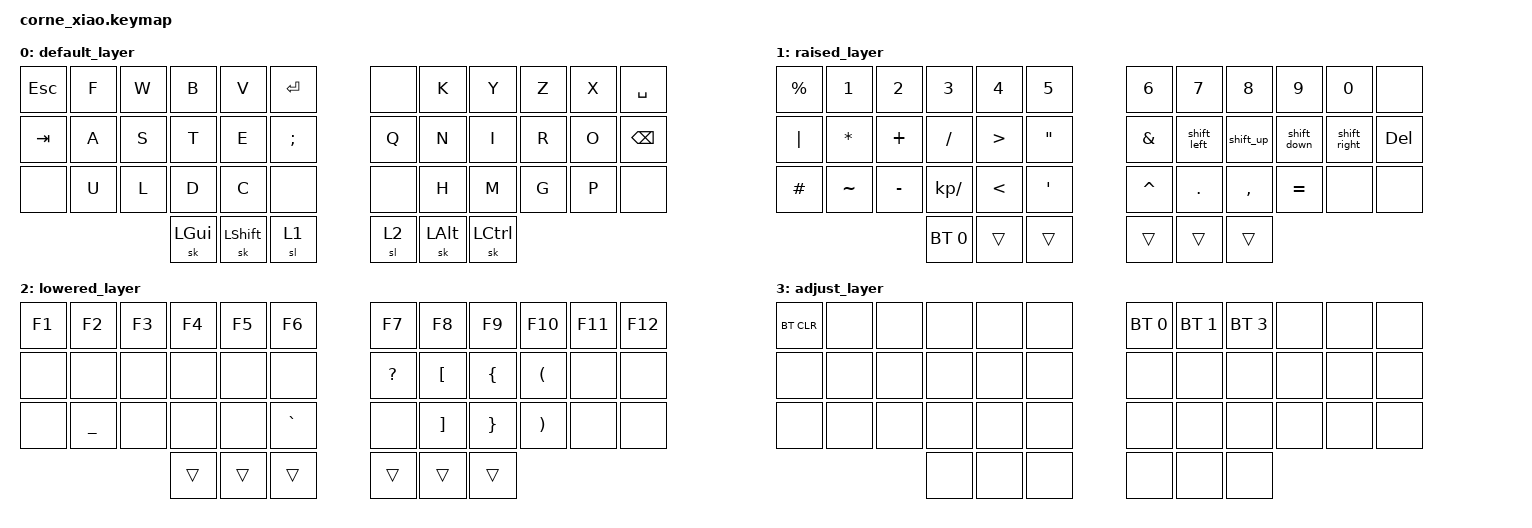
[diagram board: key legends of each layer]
#include <behaviors.dtsi>
#include <dt-bindings/zmk/keys.h>
#include <dt-bindings/zmk/bt.h>

/ {
	behaviors {
        	shift_left: shift_left {
            		compatible = "zmk,behavior-mod-morph";
	            	#binding-cells = <0>;
	            	bindings = <&kp LEFT>, <&kp HOME>;
	            	mods = <(MOD_LSFT|MOD_RSFT)>;
        	};

        
	        shift_up: shift_up {
	            	compatible = "zmk,behavior-mod-morph";
			#binding-cells = <0>;
			bindings = <&kp LEFT>, <&kp PAGE_UP>;
			mods = <(MOD_LSFT|MOD_RSFT)>;
	        };

	        shift_down: shift_down {
			compatible = "zmk,behavior-mod-morph";
			#binding-cells = <0>;
			bindings = <&kp LEFT>, <&kp PAGE_DOWN>;
			mods = <(MOD_LSFT|MOD_RSFT)>;
        	};

        	shift_right: shift_right {
	        	compatible = "zmk,behavior-mod-morph";
			#binding-cells = <0>;
			bindings = <&kp LEFT>, <&kp END>;
			mods = <(MOD_LSFT|MOD_RSFT)>;
		};
		};

	keymap {
		compatible = "zmk,keymap";
		
		default_layer {
			bindings = <
                		&kp ESC	 &kp F  &kp W  &kp B      &kp V       &kp ENTER		&none  &kp K     &kp Y      &kp Z  &kp X  &kp SPACE
                		&kp TAB	 &kp A  &kp S  &kp T      &kp E       &kp SEMI		&kp Q  &kp N     &kp I      &kp R  &kp O  &kp BACKSPACE
		                &none    &kp U  &kp L  &kp D      &kp C       &none		&none  &kp H     &kp M      &kp G  &kp P  &none
		                			&sk LGUI  &sk LSHIFT  &sl 1		&sl 2  &sk LALT  &sk LCTRL
			>;
		};

		raised_layer {
			bindings = <
                		&kp PERCENT  &kp N1     &kp N2     &kp N3         &kp N4  &kp N5 	&kp N6     &kp N7       &kp N8     &kp N9       &kp N0        &none
                		&kp PIPE     &kp STAR   &kp PLUS   &kp SLASH      &kp GT  &kp DQT   	&kp AMPS   &shift_left  &shift_up  &shift_down  &shift_right  &kp DEL
                		&kp HASH     &kp TILDE  &kp MINUS  &kp KP_DIVIDE  &kp LT  &kp SQT    	&kp CARET  &kp DOT      &kp COMMA  &kp EQUAL    &none         &none
                		                                   &bt BT_SEL 0         &trans  &trans     	&trans     &trans       &trans
			>;
		};

		lowered_layer {
			bindings = <
		                &kp F1  &kp F2     &kp F3  &kp F4  &kp F5  &kp F6	&kp F7     &kp F8             &kp F9           &kp F10   &kp F11  &kp F12
		                &none   &none      &none   &none   &none   &none        &kp QMARK  &kp LEFT_BRACKET   &kp LEFT_BRACE   &kp LPAR  &none    &none
               			&none   &kp UNDER  &none   &none   &none   &kp GRAVE	&none      &kp RIGHT_BRACKET  &kp RIGHT_BRACE  &kp RPAR  &none    &none
		                                           &trans  &trans  &trans	&trans     &trans             &trans
			>;
		};

		adjust_layer {
			bindings = <
				&bt BT_CLR  &none  &none  &none  &none  &none		&bt BT_SEL 0  &bt BT_SEL 1  &bt BT_SEL 3  &none  &none  &none
				&none       &none  &none  &none  &none  &none		&none         &none         &none         &none  &none  &none
				&none       &none  &none  &none  &none  &none		&none         &none         &none         &none  &none  &none
				                          &none  &none  &none		&none         &none         &none
			>;
		};
	};

	conditional_layers {
		compatible = "zmk,conditional-layers";
		tri_layer {
			if-layers = <1 2>;
			then-layer = <3>;
		};
	};
};
